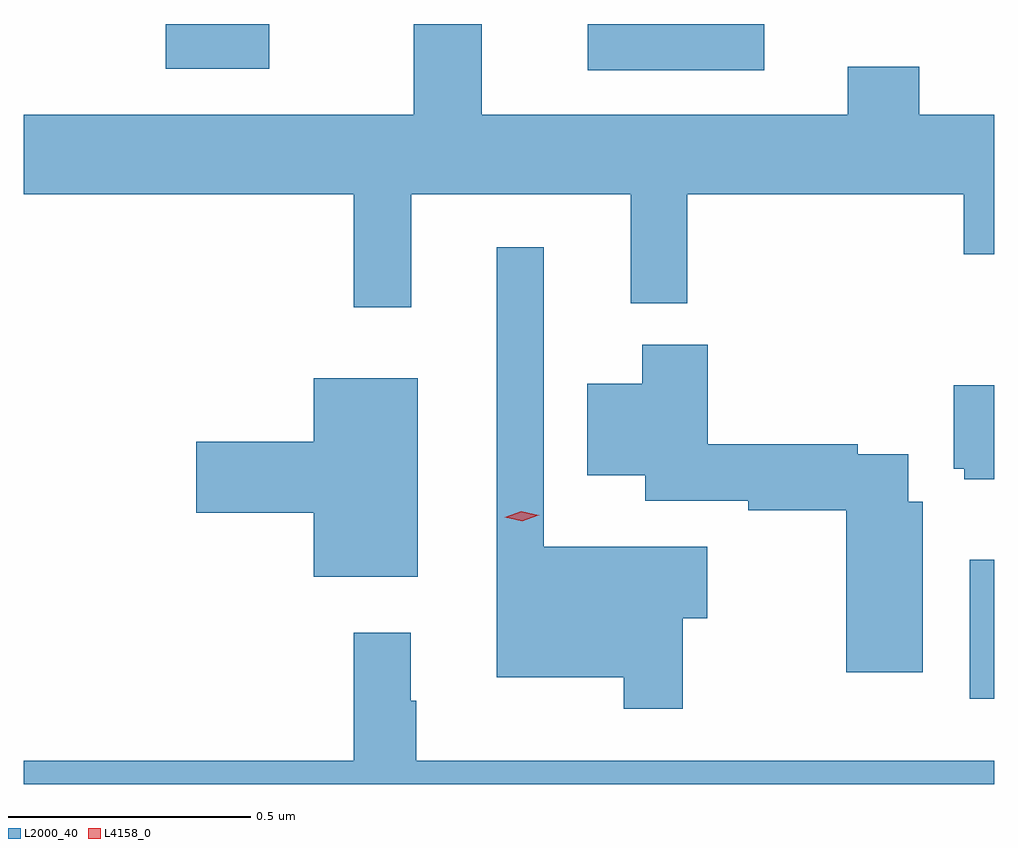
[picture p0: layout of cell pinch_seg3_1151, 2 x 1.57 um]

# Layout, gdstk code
import gdstk
lib = gdstk.Library(unit=1e-6, precision=1e-09)
def R(c, l, rs):  # rectangles x0, y0, x1, y1
    for r in rs: c.add(gdstk.rectangle(r[:2], r[2:], *l))
def P(c, l, *ps):  # polygons
    for p in ps: c.add(gdstk.Polygon(p, *l))
L2000_40 = (2000, 40)
L4158_0 = (4158, 0)

pinch_seg3_1151 = lib.new_cell('pinch_seg3_1151')
R(pinch_seg3_1151, L2000_40, [(173.591,666.576,173.641,666.862), (172.803,667.872,173.167,667.967), (171.933,667.875,172.147,667.967)])
P(pinch_seg3_1151, L2000_40, [(172.439,667.616),(172.892,667.616),(172.892,667.391),(173.009,667.391),(173.009,667.616),(173.579,667.616),(173.579,667.492),(173.641,667.492),(173.641,667.78),(173.487,667.78),(173.487,667.879),(173.339,667.879),(173.339,667.78),(172.585,667.78),(172.585,667.967),(172.445,667.967),(172.445,667.78),(171.641,667.78),(171.641,667.616),(172.321,667.616),(172.321,667.383),(172.439,667.383)],
  [(172.999,666.742),(173.05,666.742),(173.05,666.889),(172.713,666.889),(172.713,667.507),(172.616,667.507),(172.616,666.62),(172.878,666.62),(172.878,666.555),(172.999,666.555)],
  [(173.494,666.982),(173.464,666.982),(173.464,667.08),(173.36,667.08),(173.36,667.1),(173.051,667.1),(173.051,667.306),(172.916,667.306),(172.916,667.225),(172.802,667.225),(172.802,667.037),(172.922,667.037),(172.922,666.984),(173.134,666.984),(173.134,666.964),(173.336,666.964),(173.336,666.63),(173.494,666.63)],
  [(172.453,667.237),(172.238,667.237),(172.238,667.106),(171.996,667.106),(171.996,666.959),(172.238,666.959),(172.238,666.827),(172.453,666.827)],
  [(173.641,667.222),(173.558,667.222),(173.558,667.05),(173.58,667.05),(173.58,667.028),(173.641,667.028)],
  [(173.641,666.448),(172.45,666.448),(172.45,666.572),(172.438,666.572),(172.438,666.712),(172.321,666.712),(172.321,666.448),(171.641,666.448),(171.641,666.4),(173.641,666.4)])
P(pinch_seg3_1151, L4158_0, [(172.668,666.942),(172.632,666.95),(172.632,666.95),(172.632,666.95),(172.666,666.962),(172.702,666.954),(172.703,666.954),(172.702,666.954)])

lib.write_gds('pinch_seg3_1151.gds')
